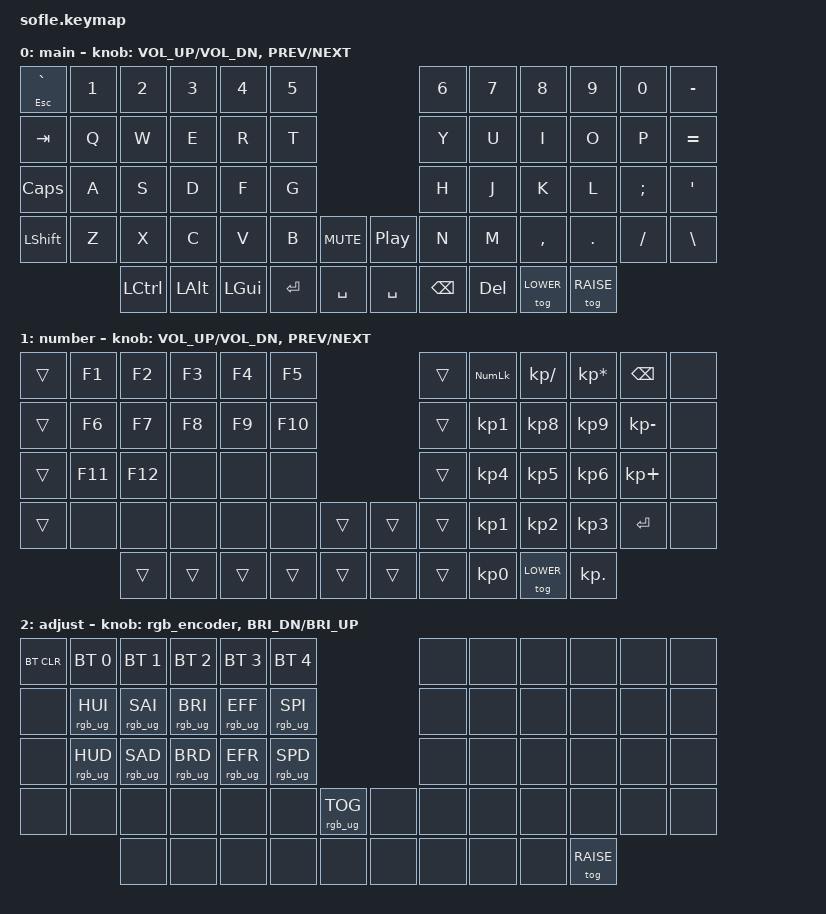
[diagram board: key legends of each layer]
/*
 * Copyright (c) 2020 The ZMK Contributors
 *
 * SPDX-License-Identifier: MIT
 */

#include <behaviors.dtsi>
#include <dt-bindings/zmk/keys.h>
#include <dt-bindings/zmk/bt.h>
#include <dt-bindings/zmk/rgb.h>
#include <dt-bindings/zmk/ext_power.h>

#define BASE 0
#define LOWER 1
#define RAISE 2
#define ADJUST 3
#define ESCGRV &mt ESC GRAVE

/ {
    behaviors {
        rgb_encoder: rgb_encoder {
            compatible = "zmk,behavior-sensor-rotate";
            #sensor-binding-cells = <0>;
            bindings = <&rgb_ug RGB_BRI>, <&rgb_ug RGB_BRD>;
        };
    };

    keymap {
        compatible = "zmk,keymap";

        default_layer {
            display-name = "main";
// ------------------------------------------------------------------------------------------------------------
// |   `   |  1   |  2   |  3   |  4   |  5   |                   |  6   |  7    |  8    |  9   |   0   |   -   |
// |  TAB  |  Q   |  W   |  E   |  R   |  T   |                   |  Y   |  U    |  I    |  O   |   P   |   =   |
// | CAPS  |  A   |  S   |  D   |  F   |  G   |                   |  H   |  J    |  K    |  L   |   ;   |   '   |
// | SHIFT |  Z   |  X   |  C   |  V   |  B   |  MUTE  |  | PLAY  |  N   |  M    |  ,    |  .   |   /   |   \   |
//                | CTRL | ALT  | GUI  | ENTER|  SPACE |  | SPACE | BSPC |  DEL  | LOWER | RAISE|

            bindings = <
ESCGRV    &kp N1 &kp N2    &kp N3   &kp N4   &kp N5                          &kp N6    &kp N7    &kp N8      &kp N9     &kp N0   &kp MINUS
&kp TAB   &kp Q  &kp W     &kp E    &kp R    &kp T                          &kp Y     &kp U     &kp I       &kp O      &kp P    &kp EQUAL
&kp CAPS  &kp A  &kp S     &kp D    &kp F    &kp G                          &kp H     &kp J     &kp K       &kp L      &kp SEMI &kp SQT
&kp LSHFT &kp Z  &kp X     &kp C    &kp V    &kp B     &kp C_MUTE &kp C_PP  &kp N     &kp M     &kp COMMA   &kp DOT    &kp FSLH &kp BSLH
                 &kp LCTRL &kp LALT &kp LGUI &kp ENTER &kp SPACE  &kp SPACE &kp BSPC  &kp DEL   &tog LOWER  &tog RAISE
            >;

            sensor-bindings = <&inc_dec_kp C_VOL_UP C_VOL_DN &inc_dec_kp C_PREV C_NEXT>;
        };

        lower_layer {
            display-name = "number";
// ------------------------------------------------------------------------------------------------------------
// |      |  F1  |  F2  |  F3  |  F4  |  F5  |                   |      | NUMLK |  FSLH |  MULT | BSPC  |       |
// |      |  F6  |  F7  |  F8  |  F9  |  F10 |                   |      |   7   |   8   |   9   | MINUS |       |
// |      |  F11 |  F12 |      |      |      |                   |      |   4   |   5   |   6   | PLUS  |       |
// |      |      |      |      |      |      |        |  |       |      |   1   |   2   |   3   | ENTER |       |
//               |      |      |      |      |        |  |       |      |   0   |  BASE |   .   |
            bindings = <
&trans  &kp F1   &kp F2   &kp F3  &kp F4  &kp F5                   &trans  &kp KP_NUM  &kp  KP_SLASH  &kp KP_MULTIPLY  &kp BSPC      &none
&trans  &kp F6   &kp F7   &kp F8  &kp F9  &kp F10                  &trans  &kp KP_N1   &kp  KP_N8     &kp KP_N9        &kp KP_MINUS  &none
&trans  &kp F11  &kp F12  &none   &none   &none                    &trans  &kp KP_N4   &kp  KP_N5     &kp KP_N6        &kp KP_PLUS   &none
&trans  &none    &none    &none   &none   &none    &trans  &trans  &trans  &kp KP_N1   &kp  KP_N2     &kp KP_N3        &kp ENTER     &none
                 &trans   &trans  &trans  &trans   &trans  &trans  &trans  &kp KP_N0   &tog LOWER     &kp KP_DOT
            >;

            sensor-bindings = <&inc_dec_kp C_VOL_UP C_VOL_DN &inc_dec_kp C_PREV C_NEXT>;
        };

        raise_layer {
// ----------------------------------------------------------------------------------------------------------------------------
// | BTCLR  |  BT1    |  BT2    |   BT3   |   BT4   |   BT5   |                  |      |      |       |      |       |       |
// |        | RGB_HUI | RGB_SAI | RGB_BRI | RGB_EFF | RGB_SPI |                  |      |      |       |      |       |       |
// |        | RGB_HUD | RGB_SAD | RGB_BRD | RGB_EFR | RGB_SPD |                  |      |      |       |      |       |       |
// |        |         |         |         |         |         | RGB_TOG | |      |      |      |       |      |       |       |
//                    |         |         |         |         |         | |      |      |      |       |      |
            display-name = "adjust";
            bindings = <
&bt BT_CLR  &bt BT_SEL 0    &bt BT_SEL 1    &bt BT_SEL 2    &bt BT_SEL 3    &bt BT_SEL 4                            &none &none &none &none &none &none
&none       &rgb_ug RGB_HUI &rgb_ug RGB_SAI &rgb_ug RGB_BRI &rgb_ug RGB_EFF &rgb_ug RGB_SPI                         &none &none &none &none &none &none
&none       &rgb_ug RGB_HUD &rgb_ug RGB_SAD &rgb_ug RGB_BRD &rgb_ug RGB_EFR &rgb_ug RGB_SPD                         &none &none &none &none &none &none
&none       &none           &none           &none           &none           &none            &rgb_ug RGB_TOG &none  &none &none &none &none &none &none
                            &none           &none           &none           &none            &none           &none  &none &none &none &tog RAISE
            >;
            
            sensor-bindings = <&rgb_encoder &inc_dec_kp C_BRI_DN C_BRI_UP>;
        };
    };
};
